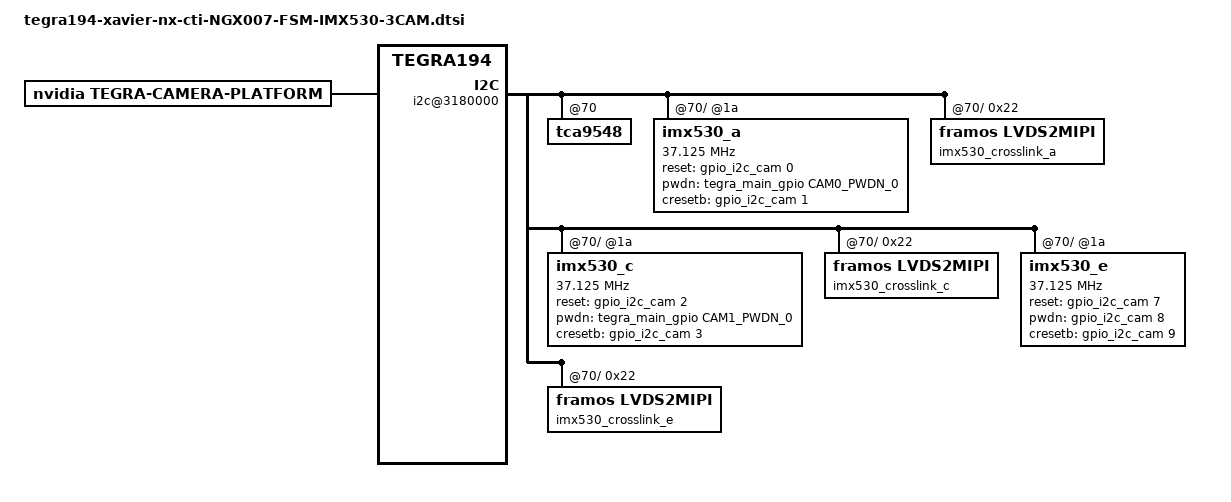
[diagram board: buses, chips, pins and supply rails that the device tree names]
/*
 * tegra194-camera-imx530.dtsi - imx530 sensor device tree
 *
 * Copyright (c) 2019. FRAMOS.  All rights reserved.
 *
 * This program is free software; you can redistribute it and/or modify
 * it under the terms of the GNU General Public License as published by
 * the Free Software Foundation; either version 2 of the License, or
 * (at your option) any later version.
 *
 * This program is distributed in the hope that it will be useful, but WITHOUT
 * ANY WARRANTY; without even the implied warranty of MERCHANTABILITY or
 * FITNESS FOR A PARTICULAR PURPOSE.  See the GNU General Public License for
 * more details.
 *
 * You should have received a copy of the GNU General Public License
 * along with this program.  If not, see <http://www.gnu.org/licenses/>.
 */

/* camera control gpio definitions */
#include "tegra194-cti-camera-fsm-imx530-3cam-1mux-header.dtsi"
#include "tegra194-cti-fsm-imx530-modes-header.dtsi"
#include "tegra194-cti-camera-3cam-1mux-base.dtsi"
#include "tegra194-xavier-nx-cti-NGX007-FSM-3CAM-base.dtsi"


/* camera control gpio definitions */
/ {
	tegra-camera-platform {
		compatible = "nvidia, tegra-camera-platform";

		/**
		* Physical settings to calculate max ISO BW
		*
		* num_csi_lanes = <>;
		* Total number of CSI lanes when all cameras are active
		*
		* max_lane_speed = <>;
		* Max lane speed in Kbit/s
		*
		* min_bits_per_pixel = <>;
		* Min bits per pixel
		*
		* vi_peak_byte_per_pixel = <>;
		* Max byte per pixel for the VI ISO case
		*
		* vi_bw_margin_pct = <>;
		* Vi bandwidth margin in percentage
		*
		* max_pixel_rate = <>;
		* Max pixel rate in Kpixel/s for the ISP ISO case
		*
		* isp_peak_byte_per_pixel = <>;
		* Max byte per pixel for the ISP ISO case
		*
		* isp_bw_margin_pct = <>;
		* Isp bandwidth margin in percentage
		*/
		num_csi_lanes = <16>;
		max_lane_speed = <1500000>;
		min_bits_per_pixel = <12>; 
		vi_peak_byte_per_pixel = <2>;
		vi_bw_margin_pct = <25>;
        max_pixel_rate = <240000>;
		isp_peak_byte_per_pixel = <5>;
		isp_bw_margin_pct = <25>;
	};
};

/{
	i2c@3180000 {
		tca9548@70 {
			i2c@0 {
				imx530_a@1a {
					devnode = "video0";

					physical_w = "20.00";
					physical_h = "16.80";

					/* Define any required hw resources needed by driver */
				    /* ie. clocks, io pins, power sources */
                    clocks = <&bpmp_clks TEGRA194_CLK_EXTPERIPH1>,
						<&bpmp_clks TEGRA194_CLK_EXTPERIPH1>;
                    clock-names = "extperiph1", "pllp_grtba";
                    mclk = "extperiph1";
                    clock-frequency = <37125000>; // is 27000000 in patch
                    reset-gpios = <&gpio_i2c_cam 0 GPIO_ACTIVE_HIGH>;
                    pwdn-gpios = <&tegra_main_gpio CAM0_PWDN_0 GPIO_ACTIVE_HIGH>;
                    cresetb = <&gpio_i2c_cam 1 GPIO_ACTIVE_HIGH>;
				    /* Defines number of frames to be dropped by driver internally after applying */
				    /* sensor crop settings. Some sensors send corrupt frames after applying */
				    /* crop co-ordinates */
				    post_crop_frame_drop = "0";

				    /* Convert Gain to unit of dB (decibel) befor passing to kernel driver */
				    use_decibel_gain = "true";

				    /* if true, delay gain setting by one frame to be in sync with exposure */
				    delayed_gain = "false";

				    /* enable CID_SENSOR_MODE_ID for sensor modes selection */
				    use_sensor_mode_id = "false";
				};
				
				imx530_crosslink_a@22 {
				    compatible = "framos, lvds2mipi";
				    reg = <0x22>;
                    device = "crosslink";
			    };
				
			};
            
			i2c@1 {
				imx530_c@1a {
					devnode = "video2";

					physical_w = "20.00";
					physical_h = "16.80";

					/* Define any required hw resources needed by driver */
				    /* ie. clocks, io pins, power sources */
                    clocks = <&bpmp_clks TEGRA194_CLK_EXTPERIPH1>,
						<&bpmp_clks TEGRA194_CLK_EXTPERIPH1>;
                    clock-names = "extperiph1", "pllp_grtba";
                    mclk = "extperiph1";
                    clock-frequency = <37125000>;
                    reset-gpios = <&gpio_i2c_cam 2 GPIO_ACTIVE_HIGH>;
                    pwdn-gpios = <&tegra_main_gpio CAM1_PWDN_0 GPIO_ACTIVE_HIGH>;
                    cresetb = <&gpio_i2c_cam 3 GPIO_ACTIVE_HIGH>;
					
					/* Defines number of frames to be dropped by driver internally after applying */
				    /* sensor crop settings. Some sensors send corrupt frames after applying */
				    /* crop co-ordinates */
				    post_crop_frame_drop = "0";

				    /* Convert Gain to unit of dB (decibel) befor passing to kernel driver */
				    use_decibel_gain = "true";

				    /* if true, delay gain setting by one frame to be in sync with exposure */
				    delayed_gain = "false";

				    /* enable CID_SENSOR_MODE_ID for sensor modes selection */
				    use_sensor_mode_id = "false";
				};
				
				imx530_crosslink_c@22 {
				    compatible = "framos, lvds2mipi";
				    reg = <0x22>;
                    device = "crosslink";
			    };

			};
            
            i2c@3 {
				imx530_e@1a {
					devnode = "video4";

					physical_w = "20.00";
					physical_h = "16.80";
					
					/* Define any required hw resources needed by driver */
				    /* ie. clocks, io pins, power sources */
                    clocks = <&bpmp_clks TEGRA194_CLK_EXTPERIPH1>,
						<&bpmp_clks TEGRA194_CLK_EXTPERIPH1>;
                    clock-names = "extperiph1", "pllp_grtba";
                    mclk = "extperiph1";
                    clock-frequency = <37125000>;
                    reset-gpios = <&gpio_i2c_cam 7 GPIO_ACTIVE_HIGH>;
                    pwdn-gpios = <&gpio_i2c_cam 8 GPIO_ACTIVE_HIGH>;
                    cresetb = <&gpio_i2c_cam 9 GPIO_ACTIVE_HIGH>;
					
					/* Defines number of frames to be dropped by driver internally after applying */
				    /* sensor crop settings. Some sensors send corrupt frames after applying */
				    /* crop co-ordinates */
				    post_crop_frame_drop = "0";

				    /* Convert Gain to unit of dB (decibel) befor passing to kernel driver */
				    use_decibel_gain = "true";

				    /* if true, delay gain setting by one frame to be in sync with exposure */
				    delayed_gain = "false";

				    /* enable CID_SENSOR_MODE_ID for sensor modes selection */
				    use_sensor_mode_id = "false";
                };
				
				imx530_crosslink_e@22 {
				    compatible = "framos, lvds2mipi";
				    reg = <0x22>;
                    device = "crosslink";
			    };
			
            };
		};
	};
};
